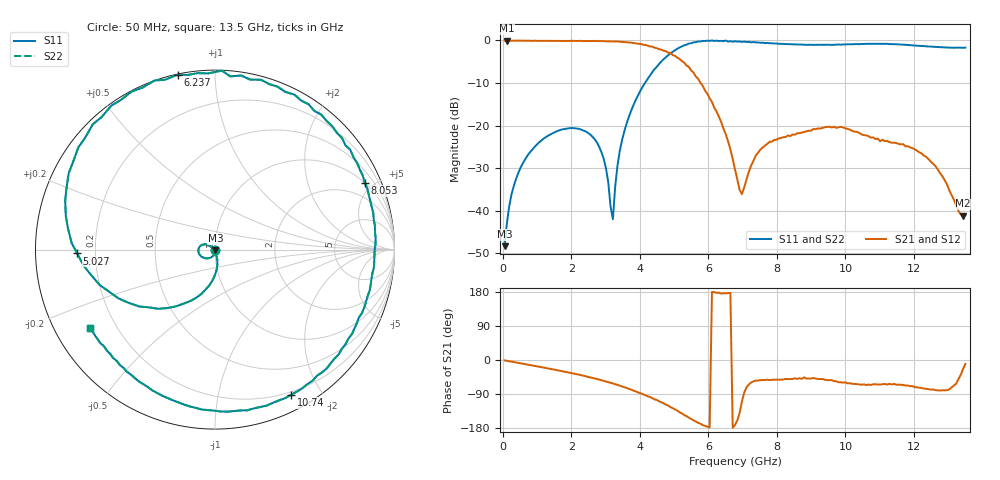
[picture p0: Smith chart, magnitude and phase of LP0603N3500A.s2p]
! 	AVX	Thin	Film	Operation	Date:	February 2007
!	Description:	Thin Film Low Pass Filters - LP0603N Series
!	Part	Number:	LP0603N3500ANTR
!	50	MHz	-	13.5	GHz
!	Serial	Measurements
!	Network Analyzer HP8720E S.07.64: Feb23, 2000 Serial No.US39172382
#	mhz	S	db	R	50
!	S11	S11	S21	S21	S12	S12	S22	S22
!	dB	Phase	dB	Phase	dB	Phase	dB	Phase
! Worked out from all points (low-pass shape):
!   201 points, 50 MHz to 13.5 GHz, reference 50 ohm
!   highest |S21| = -0.03 dB at 117.2 MHz (marker M1); lowest = -41.2 dB at 13.43 GHz (marker M2)
!   |S21| within 3 dB of the highest: start of sweep to 4.909 GHz
!   lowest |S11| = -48.3 dB at 50 MHz (marker M3), VSWR 1.01, Z = 50.2 - j0.322 ohm
!   |S11| at or under -10 dB: start of sweep to 4.147 GHz
!   |S22| runs from -48.3 to 0.0 dB; largest |S21 - S12| = 0
!   S11 on the Smith chart (normalised r, x): 50 MHz: 1.00, -0.01; 5.027 GHz: 0.13, -0.01; 6.237 GHz: 0.00, +0.81; 8.053 GHz: 1.00, +4.49; 10.74 GHz: 0.17, -1.64; 13.5 GHz: 0.10, -0.28
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50  -48.34 -56.8  -0.04 -1.0  -0.04 -1.0  -48.34 -56.8
117.25  -42.96 -67.4  -0.03 -2.1  -0.03 -2.1  -42.96 -67.4
789.75  -26.28 -117.0  -0.07 -13.3  -0.07 -13.3  -26.28 -117.0
2336.5  -21.13 170.8  -0.15 -41.2  -0.15 -41.2  -21.13 170.8
2941.75  -27.80 146.1  -0.15 -55.0  -0.15 -55.0  -27.80 146.1
3210.75  -42.00 -118.5  -0.22 -61.9  -0.22 -61.9  -42.00 -118.5
3345.25  -29.39 -76.7  -0.24 -65.8  -0.24 -65.8  -29.39 -76.7
3547  -21.26 -81.4  -0.36 -71.7  -0.36 -71.7  -21.26 -81.4
4555.75  -5.55 -143.1  -2.02 -108.7  -2.02 -108.7  -5.55 -143.1
5026.5  -2.29 -178.4  -3.62 -130.6  -3.62 -130.6  -2.29 -178.4
5564.5  -0.44 143.2  -7.54 -159.2  -7.54 -159.2  -0.44 143.2
6237  -0.03 102.0  -16.69 177.2  -16.69 177.2  -0.03 102.0
6775  -0.17 74.8  -30.32 -171.7  -30.32 -171.7  -0.17 74.8
6976.75  -0.34 65.9  -36.12 -109.6  -36.12 -109.6  -0.34 65.9
7380.25  -0.46 48.9  -27.06 -54.5  -27.06 -54.5  -0.46 48.9
8052.75  -0.78 24.0  -23.01 -51.7  -23.01 -51.7  -0.78 24.0
9061.5  -1.04 -8.5  -20.80 -47.4  -20.80 -47.4  -1.04 -8.5
10742.75  -0.79 -62.4  -22.84 -65.9  -22.84 -65.9  -0.79 -62.4
11280.75  -0.84 -81.0  -23.88 -62.9  -23.88 -62.9  -0.84 -81.0
12625.75  -1.52 -123.7  -29.50 -79.7  -29.50 -79.7  -1.52 -123.7
13432.75  -1.71 -146.3  -41.19 -23.5  -41.19 -23.5  -1.71 -146.3
13500  -1.69 -148.1  -40.98 -10.1  -40.98 -10.1  -1.69 -148.1
